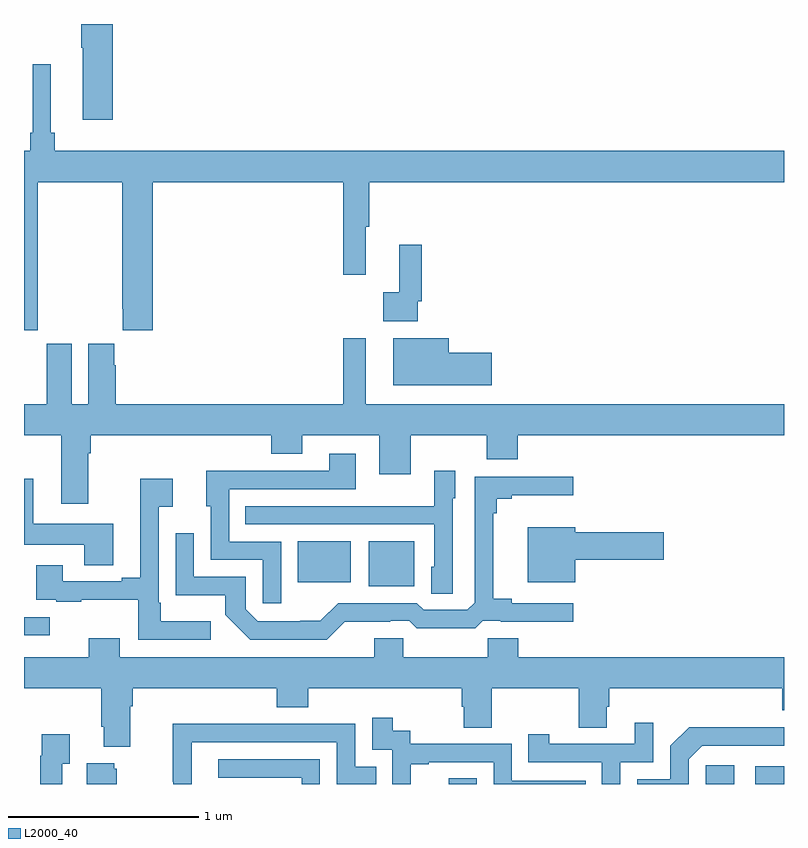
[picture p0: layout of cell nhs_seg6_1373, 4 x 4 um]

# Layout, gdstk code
import gdstk
lib = gdstk.Library(unit=1e-6, precision=1e-09)
def R(c, l, rs):  # rectangles x0, y0, x1, y1
    for r in rs: c.add(gdstk.rectangle(r[:2], r[2:], *l))
def P(c, l, *ps):  # polygons
    for p in ps: c.add(gdstk.Polygon(p, *l))
L2000_40 = (2000, 40)

nhs_seg6_1373 = lib.new_cell('nhs_seg6_1373')
R(nhs_seg6_1373, L2000_40, [(197.235,945.5,197.382,945.529), (198.588,945.5,198.739,945.598), (198.849,945.5,199,945.594), (195,946.283,195.136,946.377), (196.814,946.541,197.053,946.777), (196.442,946.562,196.72,946.777)])
P(nhs_seg6_1373, L2000_40, [(195.467,949.5),(195.301,949.5),(195.301,949.375),(195.308,949.375),(195.308,948.996),(195.467,948.996)],
  [(195.072,948.668),(195.517,948.668),(195.517,948.001),(195.521,948.001),(195.521,947.889),(195.677,947.889),(195.677,948.668),(196.681,948.668),(196.681,948.18),(196.799,948.18),(196.799,948.432),(196.817,948.432),(196.817,948.668),(199,948.668),(199,948.832),(195.161,948.832),(195.161,948.928),(195.142,948.928),(195.142,949.288),(195.045,949.288),(195.045,948.928),(195.032,948.928),(195.032,948.832),(195,948.832),(195,947.889),(195.072,947.889)],
  [(197.073,948.04),(197.093,948.04),(197.093,948.337),(196.976,948.337),(196.976,948.089),(196.89,948.089),(196.89,947.936),(197.073,947.936)],
  [(197.461,947.771),(197.236,947.771),(197.236,947.845),(196.943,947.845),(196.943,947.6),(197.461,947.6)],
  [(195.337,947.24),(195.35,947.24),(195.35,947.336),(196.301,947.336),(196.301,947.237),(196.465,947.237),(196.465,947.336),(196.871,947.336),(196.871,947.13),(197.035,947.13),(197.035,947.336),(197.435,947.336),(197.435,947.208),(197.599,947.208),(197.599,947.336),(199,947.336),(199,947.5),(196.798,947.5),(196.798,947.845),(196.681,947.845),(196.681,947.5),(195.482,947.5),(195.482,947.705),(195.475,947.705),(195.475,947.818),(195.338,947.818),(195.338,947.5),(195.25,947.5),(195.25,947.818),(195.119,947.818),(195.119,947.5),(195,947.5),(195,947.336),(195.197,947.336),(195.197,946.974),(195.337,946.974)],
  [(196.353,946.776),(196.08,946.776),(196.08,947.052),(196.747,947.052),(196.747,947.239),(196.607,947.239),(196.607,947.148),(196.177,947.148),(196.177,947.15),(195.959,947.15),(195.959,946.962),(195.984,946.962),(195.984,946.68),(196.257,946.68),(196.257,946.452),(196.353,946.452)],
  [(197.256,947.004),(197.269,947.004),(197.269,947.149),(197.16,947.149),(197.16,946.963),(196.843,946.963),(196.843,946.962),(196.165,946.962),(196.165,946.866),(197.16,946.866),(197.16,946.644),(197.144,946.644),(197.144,946.501),(197.256,946.501)],
  [(196.688,946.355),(196.928,946.355),(196.928,946.359),(197.028,946.359),(197.068,946.32),(197.375,946.32),(197.415,946.359),(197.509,946.359),(197.509,946.355),(197.89,946.355),(197.89,946.452),(197.566,946.452),(197.566,946.475),(197.471,946.475),(197.471,946.925),(197.489,946.925),(197.489,947.002),(197.566,947.002),(197.566,947.021),(197.89,947.021),(197.89,947.118),(197.373,947.118),(197.373,946.455),(197.334,946.416),(197.103,946.416),(197.067,946.452),(196.653,946.452),(196.559,946.358),(196.454,946.358),(196.454,946.356),(196.23,946.356),(196.167,946.419),(196.167,946.59),(195.894,946.59),(195.894,946.819),(195.798,946.819),(195.798,946.493),(196.06,946.493),(196.06,946.391),(196.19,946.26),(196.593,946.26)],
  [(195.982,946.357),(195.721,946.357),(195.721,946.453),(195.708,946.453),(195.708,946.958),(195.784,946.958),(195.784,947.107),(195.611,947.107),(195.611,946.585),(195.515,946.585),(195.515,946.566),(195.205,946.566),(195.205,946.651),(195.065,946.651),(195.065,946.47),(195.169,946.47),(195.169,946.458),(195.301,946.458),(195.301,946.469),(195.6,946.469),(195.6,946.26),(195.982,946.26)],
  [(195.469,946.87),(195.049,946.87),(195.049,947.107),(195,947.107),(195,946.76),(195.317,946.76),(195.317,946.651),(195.469,946.651)],
  [(197.902,946.679),(198.367,946.679),(198.367,946.826),(197.902,946.826),(197.902,946.852),(197.651,946.852),(197.651,946.562),(197.902,946.562)],
  [(195.559,945.908),(195.572,945.908),(195.572,946.004),(196.331,946.004),(196.331,945.905),(196.496,945.905),(196.496,946.004),(197.303,946.004),(197.303,945.906),(197.315,945.906),(197.315,945.796),(197.463,945.796),(197.463,946.004),(197.92,946.004),(197.92,945.796),(198.067,945.796),(198.067,945.906),(198.08,945.906),(198.08,946.004),(198.992,946.004),(198.992,945.887),(199,945.887),(199,946.168),(197.6,946.168),(197.6,946.266),(197.44,946.266),(197.44,946.168),(196.995,946.168),(196.995,946.266),(196.844,946.266),(196.844,946.168),(195.505,946.168),(195.505,946.267),(195.341,946.267),(195.341,946.168),(195,946.168),(195,946.004),(195.407,946.004),(195.407,945.802),(195.419,945.802),(195.419,945.695),(195.559,945.695)],
  [(197.036,945.603),(197.131,945.603),(197.131,945.615),(197.472,945.615),(197.472,945.5),(197.957,945.5),(197.957,945.516),(197.568,945.516),(197.568,945.711),(197.034,945.711),(197.034,945.78),(196.942,945.78),(196.942,945.85),(196.833,945.85),(196.833,945.681),(196.938,945.681),(196.938,945.5),(197.036,945.5)],
  [(198.138,945.615),(198.312,945.615),(198.312,945.823),(198.215,945.823),(198.215,945.711),(197.764,945.711),(197.764,945.763),(197.653,945.763),(197.653,945.615),(198.042,945.615),(198.042,945.5),(198.138,945.5)],
  [(195.883,945.72),(196.647,945.72),(196.647,945.5),(196.853,945.5),(196.853,945.591),(196.743,945.591),(196.743,945.816),(196.247,945.816),(196.247,945.818),(195.784,945.818),(195.784,945.511),(195.786,945.511),(195.786,945.5),(195.883,945.5)],
  [(198.498,945.63),(198.57,945.702),(199,945.702),(199,945.798),(198.908,945.798),(198.908,945.8),(198.5,945.8),(198.402,945.702),(198.402,945.525),(198.228,945.525),(198.228,945.5),(198.498,945.5)],
  [(195.201,945.607),(195.241,945.607),(195.241,945.763),(195.093,945.763),(195.093,945.65),(195.085,945.65),(195.085,945.5),(195.201,945.5)],
  [(196.557,945.63),(196.023,945.63),(196.023,945.534),(196.461,945.534),(196.461,945.5),(196.557,945.5)],
  [(195.487,945.579),(195.476,945.579),(195.476,945.61),(195.329,945.61),(195.329,945.5),(195.487,945.5)])

lib.write_gds('nhs_seg6_1373.gds')
